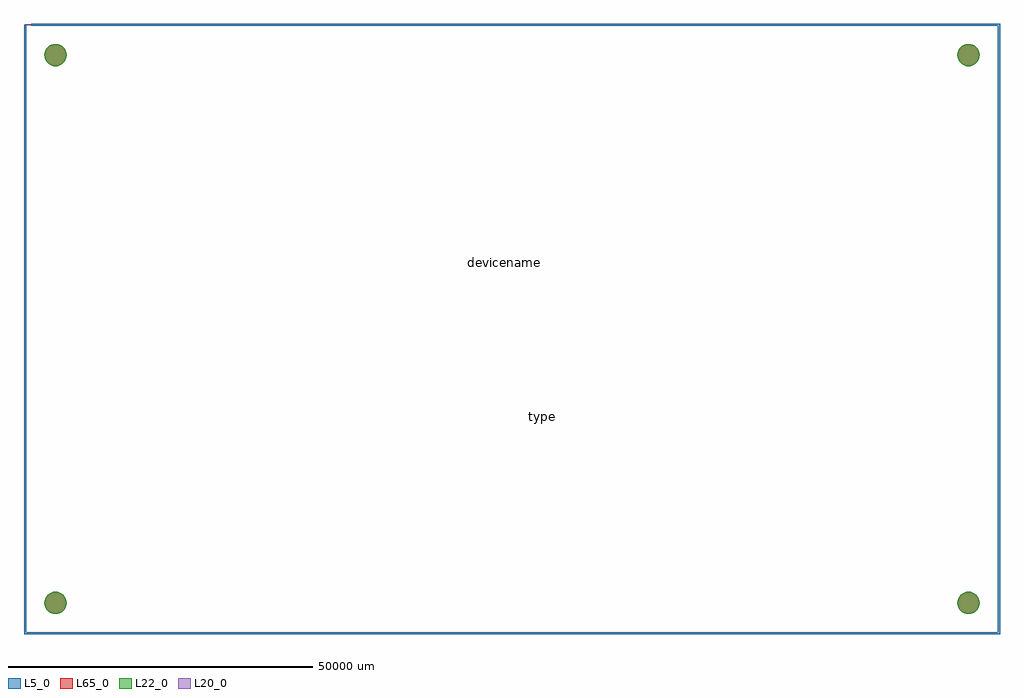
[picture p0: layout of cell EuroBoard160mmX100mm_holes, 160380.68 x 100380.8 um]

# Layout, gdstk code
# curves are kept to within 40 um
import gdstk
lib = gdstk.Library(unit=1e-6, precision=1e-09)
def P(c, l, *ps):  # polygons
    for p in ps: c.add(gdstk.Polygon(p, *l))
L5_0 = (5, 0)
L20_0 = (20, 0)
L22_0 = (22, 0)
L65_0 = (65, 0)

euroboard160mmx100mm_hol = lib.new_cell('EuroBoard160mmX100mm_holes')
P(euroboard160mmx100mm_hol, L22_0, [(6826.32,5001.26),(6687.396,5699.68),(6291.772,6291.772),(5699.68,6687.396),(5001.26,6826.32),(4302.84,6687.396),(3710.748,6291.772),(3315.124,5699.68),(3176.2,5001.26),(3315.124,4302.84),(3710.748,3710.748),(4302.84,3315.124),(5001.26,3176.2),(5699.68,3315.124),(6291.772,3710.748),(6687.396,4302.84)],
  [(156826.02,5001.26),(156687.096,5699.68),(156291.472,6291.772),(155699.38,6687.396),(155000.96,6826.32),(154302.54,6687.396),(153710.448,6291.772),(153314.824,5699.68),(153175.9,5001.26),(153314.824,4302.84),(153710.448,3710.748),(154302.54,3315.124),(155000.96,3176.2),(155699.38,3315.124),(156291.472,3710.748),(156687.096,4302.84)],
  [(156826.02,95001.08),(156687.096,95699.5),(156291.472,96291.592),(155699.38,96687.216),(155000.96,96826.14),(154302.54,96687.216),(153710.448,96291.592),(153314.824,95699.5),(153175.9,95001.08),(153314.824,94302.66),(153710.448,93710.568),(154302.54,93314.944),(155000.96,93176.02),(155699.38,93314.944),(156291.472,93710.568),(156687.096,94302.66)],
  [(6826.32,95001.08),(6687.396,95699.5),(6291.772,96291.592),(5699.68,96687.216),(5001.26,96826.14),(4302.84,96687.216),(3710.748,96291.592),(3315.124,95699.5),(3176.2,95001.08),(3315.124,94302.66),(3710.748,93710.568),(4302.84,93314.944),(5001.26,93176.02),(5699.68,93314.944),(6291.772,93710.568),(6687.396,94302.66)])
P(euroboard160mmx100mm_hol, L65_0, [(6826.32,5001.26),(6687.396,5699.68),(6291.772,6291.772),(5699.68,6687.396),(5001.26,6826.32),(4302.84,6687.396),(3710.748,6291.772),(3315.124,5699.68),(3176.2,5001.26),(3315.124,4302.84),(3710.748,3710.748),(4302.84,3315.124),(5001.26,3176.2),(5699.68,3315.124),(6291.772,3710.748),(6687.396,4302.84)],
  [(156826.02,5001.26),(156687.096,5699.68),(156291.472,6291.772),(155699.38,6687.396),(155000.96,6826.32),(154302.54,6687.396),(153710.448,6291.772),(153314.824,5699.68),(153175.9,5001.26),(153314.824,4302.84),(153710.448,3710.748),(154302.54,3315.124),(155000.96,3176.2),(155699.38,3315.124),(156291.472,3710.748),(156687.096,4302.84)],
  [(156826.02,95001.08),(156687.096,95699.5),(156291.472,96291.592),(155699.38,96687.216),(155000.96,96826.14),(154302.54,96687.216),(153710.448,96291.592),(153314.824,95699.5),(153175.9,95001.08),(153314.824,94302.66),(153710.448,93710.568),(154302.54,93314.944),(155000.96,93176.02),(155699.38,93314.944),(156291.472,93710.568),(156687.096,94302.66)],
  [(6826.32,95001.08),(6687.396,95699.5),(6291.772,96291.592),(5699.68,96687.216),(5001.26,96826.14),(4302.84,96687.216),(3710.748,96291.592),(3315.124,95699.5),(3176.2,95001.08),(3315.124,94302.66),(3710.748,93710.568),(4302.84,93314.944),(5001.26,93176.02),(5699.68,93314.944),(6291.772,93710.568),(6687.396,94302.66)])
euroboard160mmx100mm_hol.add(gdstk.FlexPath([(0,99999.8),(0,0),(159999.68,0),(159999.68,99999.8),(1000.76,99999.8)], 380.998, ends="flush", simple_path=True, layer=5, datatype=0))  # L5_0
euroboard160mmx100mm_hol.add(gdstk.FlexPath([(1000.76,99999.8),(0,99999.8)], 149.998, ends="flush", simple_path=True, layer=20, datatype=0))  # L20_0
euroboard160mmx100mm_hol.add(gdstk.Label('type', (85090,35560), layer=9, texttype=0))
euroboard160mmx100mm_hol.add(gdstk.Label('devicename', (78740,60960), layer=9, texttype=0))

lib.write_gds('EuroBoard160mmX100mm_holes.gds')
